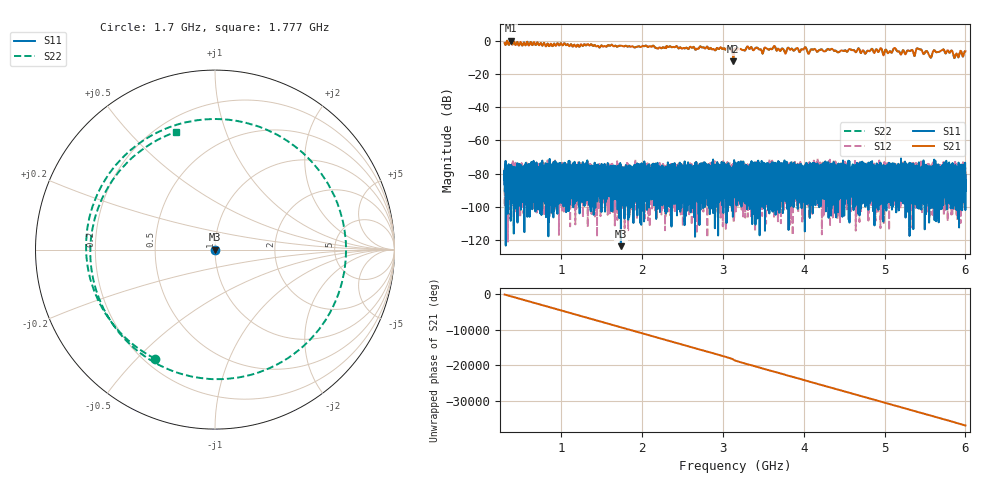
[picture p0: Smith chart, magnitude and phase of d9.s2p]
!Agilent Technologies,N5230C,SG49000117,A.08.50.07
!Agilent N5230C: A.08.50.07
!Date: Sunday, March 17, 2024 02:30:03
!Correction: S11(Off)
!S21(Off)
!S12(Off)
!S22(Off)
!S2P File: Measurements: S11, S21, S12, S22:
# Hz S  RI  R 50
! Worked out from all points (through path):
!   20001 points, 300 MHz to 6 GHz, reference 50 ohm
!   highest |S21| = 0.40 dB at 373.2 MHz (marker M1); lowest = -12.0 dB at 3.129 GHz (marker M2)
!   lowest |S11| = -123.9 dB at 1.738 GHz (marker M3), VSWR 1.00, Z = 50 - j4.29e-06 ohm
!   |S11| at or under -10 dB: start of sweep to end of sweep
!   |S22| runs from -12.0 to 0.4 dB; largest |S21 - S12| = 1
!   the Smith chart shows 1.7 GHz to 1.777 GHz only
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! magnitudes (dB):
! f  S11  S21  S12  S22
! 300 MHz  -78.5  -1.1  -76.5  -1.1
! 373.2 MHz  -76.0  0.4  -78.3  0.4
! 1.25 GHz  -79.1  -2.0  -85.3  -2.0
! 1.738 GHz  -123.9  -2.7  -83.7  -2.7
! 2.2 GHz  -77.4  -4.4  -83.7  -4.4
! 3.07 GHz  -80.5  -4.1  -85.2  -4.1
! 3.129 GHz  -78.2  -12.0  -83.2  -12.0
! 3.15 GHz  -78.8  -4.3  -79.6  -4.3
! 3.323 GHz  -77.1  -4.5  -81.1  -4.5
! 3.478 GHz  -80.4  -5.7  -85.0  -5.7
! 3.627 GHz  -73.3  -3.4  -82.0  -3.3
! 3.767 GHz  -78.9  -6.9  -80.2  -6.9
! 4.1 GHz  -78.1  -4.9  -83.1  -4.8
! 5.05 GHz  -80.5  -6.9  -82.5  -6.9
! 5.127 GHz  -74.2  -4.1  -81.2  -4.1
! 5.188 GHz  -83.7  -6.8  -81.7  -6.8
! 5.362 GHz  -75.7  -7.9  -81.0  -7.9
! 5.421 GHz  -90.8  -4.7  -95.7  -4.8
! 5.563 GHz  -77.0  -9.4  -84.7  -9.4
! 5.714 GHz  -87.2  -5.3  -76.9  -5.4
! 5.887 GHz  -91.0  -7.5  -79.2  -7.6
! 6 GHz  -88.5  -6.1  -84.9  -6.1
